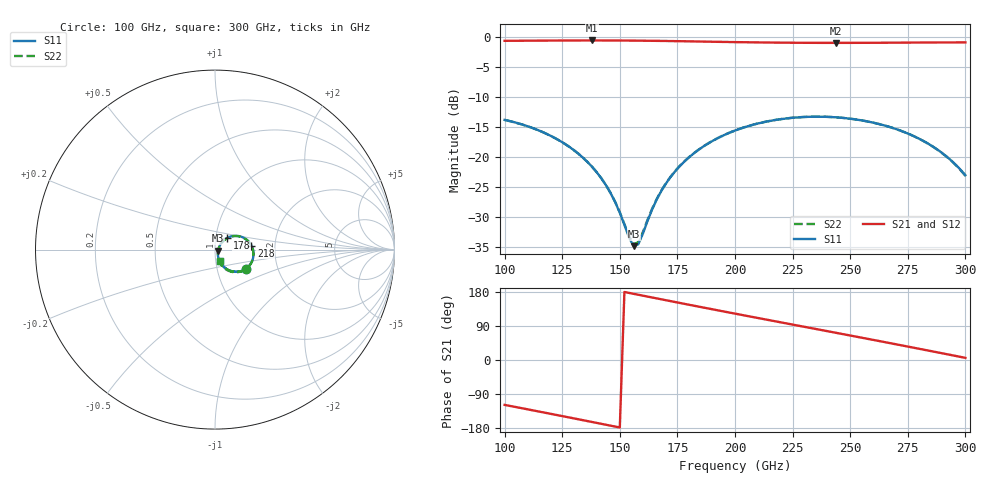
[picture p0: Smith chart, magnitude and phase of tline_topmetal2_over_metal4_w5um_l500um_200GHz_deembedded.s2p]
! Created with skrf 2.2.0 (http://scikit-rf.org).
# GHz S DB R 50.0
! Port[1] = P1
! Port[2] = P2
!freq dBS11 angS11 dBS21 angS21 dBS12 angS12 dBS22 angS22
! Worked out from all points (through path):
!   101 points, 100 GHz to 300 GHz, reference 50 ohm
!   highest |S21| = -0.59 dB at 138 GHz (marker M1); lowest = -1.0 dB at 244 GHz (marker M2)
!   group delay of S21, straight-line fit = 3.27 ps
!   lowest |S11| = -34.8 dB at 156 GHz (marker M3), VSWR 1.04, Z = 51.7 - j0.638 ohm
!   |S11| at or under -10 dB: start of sweep to end of sweep
!   |S22| runs from -34.5 to -13.3 dB; largest |S21 - S12| = 1.1e-14
!   S11 on the Smith chart (normalised r, x): 100 GHz: 1.37, -0.32; 178 GHz: 1.13, +0.15; 218 GHz: 1.51, +0.07; 300 GHz: 1.05, -0.14
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100  -13.80 -32.6  -0.65 -118.4  -0.65 -118.4  -13.80 -32.7
120  -16.45 -52.8  -0.61 -142.1  -0.61 -142.1  -16.45 -52.8
134  -20.08 -64.9  -0.59 -158.8  -0.59 -158.8  -20.08 -64.8
138  -21.61 -67.4  -0.59 -163.6  -0.59 -163.6  -21.61 -67.2
146  -25.97 -68.0  -0.59 -173.3  -0.59 -173.3  -25.95 -67.4
150  -29.24 -62.1  -0.60 -178.1  -0.60 -178.1  -29.17 -61.2
154  -33.35 -41.4  -0.61 177.1  -0.61 177.1  -33.13 -40.3
156  -34.80 -19.8  -0.62 174.6  -0.62 174.6  -34.46 -19.3
158  -34.50 5.4  -0.62 172.2  -0.62 172.2  -34.14 4.8
164  -28.72 41.6  -0.65 165.0  -0.65 165.0  -28.59 40.3
168  -25.63 46.3  -0.67 160.2  -0.67 160.2  -25.56 45.2
178  -20.73 44.1  -0.72 148.2  -0.72 148.2  -20.70 43.2
188  -17.80 36.3  -0.79 136.4  -0.79 136.4  -17.78 35.5
200  -15.57 24.8  -0.86 122.4  -0.86 122.4  -15.56 24.1
218  -13.79 6.4  -0.95 101.5  -0.95 101.5  -13.77 5.7
234  -13.27 -10.2  -0.98 83.1  -0.98 83.1  -13.26 -11.0
244  -13.38 -20.5  -0.99 71.6  -0.99 71.6  -13.37 -21.4
256  -13.95 -32.7  -0.98 57.7  -0.98 57.7  -13.95 -33.7
268  -15.08 -44.5  -0.96 43.7  -0.96 43.7  -15.08 -45.7
286  -18.26 -60.1  -0.93 22.4  -0.93 22.4  -18.28 -61.8
294  -20.60 -64.8  -0.92 12.8  -0.92 12.8  -20.65 -67.0
300  -23.01 -65.6  -0.91 5.7  -0.91 5.7  -23.11 -68.5
